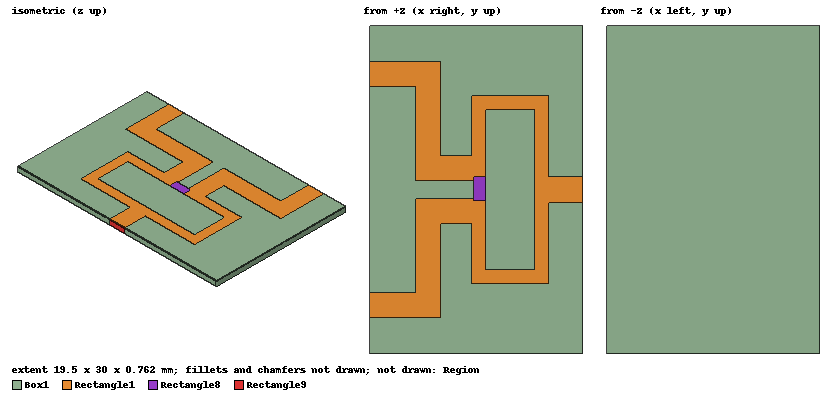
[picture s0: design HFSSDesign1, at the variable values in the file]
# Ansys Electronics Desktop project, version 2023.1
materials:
  vacuum: permittivity=1
  Rogers RT/duroid 5880 (tm): permittivity=2.2 dielectric_loss_tangent=0.0009

design HFSSDesign1 (HFSS, HFSS Terminal Network, model units mm)
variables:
  y0 = 30mm
  x0 = Lf+L2+L4+L6
  h0 = 0.762mm
  Wf = 2.30063mm
  Lf = 3.1mm
  W1 = 1.29583mm
  L1 = 7.3mm
  L2 = 7.1mm
  L3 = 6.5mm
  L4 = 5.1mm
  L5 = 8.6mm
  L6 = 4.2mm
  Lr = 2mm
  Wr = 1mm
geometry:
  Box1 [Rogers RT/duroid 5880 (tm)] = box(corner=(0mm, -y0/2, 0mm), size=(-x0, y0, -h0))
  Rectangle1 = rectangle(corner=(0mm, -Wf/2, 0mm), x_size=-Lf, y_size=Wf)
  Rectangle2 = rectangle(corner=(-Lf, 0mm, 0mm), x_size=-W1, y_size=-L1)
  Rectangle3 = rectangle(corner=(-Lf, -L1, 0mm), x_size=-L2, y_size=-W1)
  Rectangle4 = rectangle(corner=(-Lf-L2, -L1, 0), x_size=W1, y_size=L3)
  Rectangle5 = rectangle(corner=(-Lf-L2, -L1+L3, 0), x_size=-L4, y_size=-Wf)
  Rectangle6 = rectangle(corner=(-Lf-L2-L4, -L1+L3-Wf, 0), x_size=Wf, y_size=-L5)
  Rectangle7 = rectangle(corner=(-Lf-L2-L4, -L1+L3-Wf-L5, 0), x_size=-L6, y_size=Wf)
  Rectangle2.unite(Rectangle3..Rectangle7)
  Rectangle2.chamfer(Vertices=Rectangle1.vertex(4 of 4) LeftDistance=1.6*W1*0.707 RightDistance=1.6*W1*0.707 ChamferType=Symmetric)
  Rectangle2.chamfer(Vertices=Rectangle1.vertex(3 of 4) LeftDistance=1.6*W1*0.707 RightDistance=1.6*W1*0.707 ChamferType=Symmetric)
  Rectangle2.chamfer(Vertices=Rectangle1.vertex(2 of 4) LeftDistance=1.6*Wf*0.707 RightDistance=1.6*Wf*0.707 ChamferType=Symmetric)
  Rectangle2.chamfer(Vertices=Rectangle1.vertex(3 of 4) LeftDistance=1.6*Wf*0.707 RightDistance=1.6*Wf*0.707 ChamferType=Symmetric)
  Rectangle2_1 = Rectangle2.duplicate_mirror(point=(0mm, 0mm, 0mm), normal=(0mm, -1mm, 0mm))
  Rectangle8 = rectangle(corner=(-Lf-L2+W1, -Lr/2, 0mm), x_size=-Wr/0.93, y_size=Lr/0.93)
  Rectangle9 = rectangle(corner=(0mm, -Wf/2, 0mm), y_size=Wf, z_size=-h0)
  Rectangle10 = rectangle(corner=(-Lf-L2-L4-L6, -L1+L3-Wf-L5, 0mm), y_size=Wf, z_size=-h0)
  Rectangle10_1 = Rectangle10.duplicate_mirror(point=(0mm, 0mm, 0mm), normal=(0mm, 1mm, 0mm))
  Rectangle1.unite(Rectangle2, Rectangle2_1)
  Region [vacuum] = region(absolute_offset=40mm on all sides)
  Polyline1 = polyline((-29.1mm, -9.4mm, -0.381mm) (-29.1mm, 9.4mm, -0.381mm))
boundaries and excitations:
  LumpRLC1: Lumped RLC Objects=Rectangle8 CurrentLine{(-9.4418044, 1.1505376, 0) -> (-9.4418044, -1, 0)} RLC_Type=Parallel Resistance=100ohm
  PerfE1: Perfect E Objects=Rectangle1
  PerfE2: Perfect E Faces=Box1.face(-z)
  Rad1: Radiation Objects=Region
  Imped1: Impedance Objects=Polyline1 Resistance=100 Reactance=50
  Rectangle9_T1: Terminal port=1 Edges=Rectangle1.edge(at (0, 0, 0)) TerminalResistance=50ohm
  Rectangle10_1_T1: Terminal port=2 Edges=Rectangle1.edge(at (-19.5, 10.5503, 0)) TerminalResistance=50ohm
  Rectangle10_T1: Terminal port=3 Edges=Rectangle1.edge(at (-19.5, -10.5503, 0)) TerminalResistance=50ohm
  1: Lumped Port Faces=Rectangle9.face LumpedPortType=Terminal Impedance=50ohm
  2: Lumped Port Faces=Rectangle10_1.face LumpedPortType=Terminal Impedance=50ohm
  3: Lumped Port Faces=Rectangle10.face(at (-19.5, -10.5503, -0.381)) LumpedPortType=Terminal Impedance=50ohm
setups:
  Setup1: HfssDriven Frequency=3.5GHz MaxDeltaS=0.02 MaximumPasses=20 MinimumPasses=1 MinimumConvergedPasses=1 PercentRefinement=30 BasisOrder=1 PortAccuracy=2 DrivenSolverType="Direct Solver"
    sweep Sweep: 2GHz to 5GHz step 0.01GHz; Type=Interpolating InterpTolerance=0.5 InterpMaxSolns=250 PassivityErrorTolerance=0.0001
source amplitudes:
  1:1: 1V 0deg
  2:1, 3:1: 0V 0deg
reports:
  Terminal S Parameter Plot 1: dB(St(Rectangle10_1_T1,Rectangle9_T1)), dB(St(Rectangle10_T1,Rectangle9_T1)) vs Freq on Setup1 : Sweep [Lf=all L1=all L2=all L4=all L6=all]
  Terminal S Parameter Plot 2: dB(St(Rectangle9_T1,Rectangle9_T1)), dB(St(Rectangle10_1_T1,Rectangle9_T1)), dB(St(Rectangle10_T1,Rectangle9_T1)), dB(St(Rectangle10_T1,Rectangle10_1_T1)) vs Freq on Setup1 : Sweep [Lf=all L1=all L2=all L4=all L6=all]
  Terminal S Parameter Plot 3: dB(St(Rectangle9_T1,Rectangle9_T1)), dB(St(Rectangle10_1_T1,Rectangle9_T1)), dB(St(Rectangle10_T1,Rectangle9_T1)), dB(St(Rectangle10_T1,Rectangle10_1_T1)) vs Freq on Setup1 : Sweep [Lf=3.1mm L1=7.3mm L2=7.1mm L4=5.1mm L6=4.2mm]
  Terminal S Parameter Plot 4: dB(St(Rectangle9_T1,Rectangle9_T1)), dB(St(Rectangle10_1_T1,Rectangle9_T1)), dB(St(Rectangle10_T1,Rectangle9_T1)), dB(St(Rectangle10_T1,Rectangle10_1_T1)) vs Freq on Setup1 : Sweep [Lf=all L1=all L2=all L4=all L6=all]
  Terminal S Parameter Table 1: dB(St(Rectangle9_T1,Rectangle9_T1)), dB(St(Rectangle10_1_T1,Rectangle9_T1)), dB(St(Rectangle10_T1,Rectangle9_T1)), dB(St(Rectangle10_T1,Rectangle10_1_T1)) vs Freq on Setup1 : Sweep
